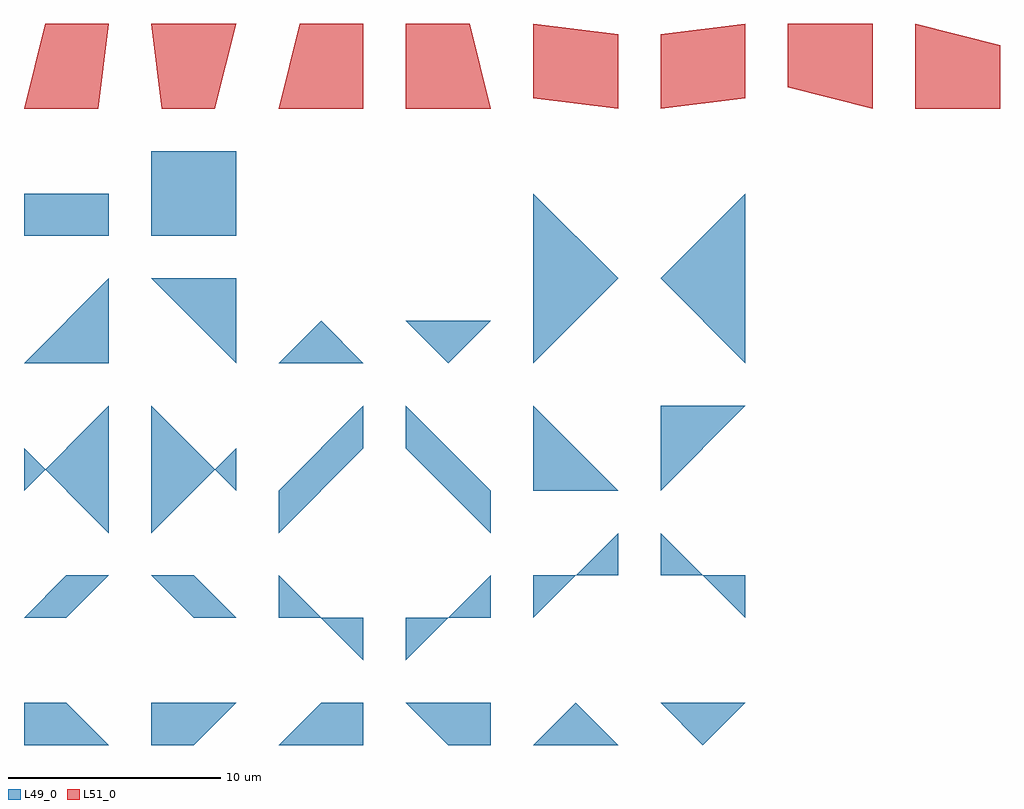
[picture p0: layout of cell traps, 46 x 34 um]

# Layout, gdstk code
import gdstk
lib = gdstk.Library(unit=1e-6, precision=1e-09)
def R(c, l, rs):  # rectangles x0, y0, x1, y1
    for r in rs: c.add(gdstk.rectangle(r[:2], r[2:], *l))
def P(c, l, *ps):  # polygons
    for p in ps: c.add(gdstk.Polygon(p, *l))
L49_0 = (49, 0)
L51_0 = (51, 0)

traps = lib.new_cell('traps')
R(traps, L49_0, [(0,24,4,26), (6,24,10,28)])
P(traps, L49_0, [(0,0),(0,2),(2,2),(4,0)],
  [(6,0),(6,2),(10,2),(8,0)],
  [(12,0),(14,2),(16,2),(16,0)],
  [(20,0),(18,2),(22,2),(22,0)],
  [(24,0),(26,2),(26,2),(28,0)],
  [(32,0),(30,2),(34,2),(32,0)],
  [(0,6),(2,8),(4,8),(2,6)],
  [(8,6),(6,8),(8,8),(10,6)],
  [(12,6),(12,8),(16,4),(16,6)],
  [(18,6),(18,4),(22,8),(22,6)],
  [(24,6),(24,8),(28,8),(28,10)],
  [(30,10),(30,8),(34,8),(34,6)],
  [(0,12),(0,14),(4,10),(4,16)],
  [(6,16),(6,10),(10,14),(10,12)],
  [(12,12),(12,10),(16,14),(16,16)],
  [(18,16),(18,14),(22,10),(22,12)],
  [(24,12),(24,16),(28,12)],
  [(30,12),(30,16),(34,16)],
  [(0,18),(4,22),(4,18)],
  [(6,22),(10,22),(10,18)],
  [(12,18),(14,20),(16,18)],
  [(18,20),(22,20),(20,18)],
  [(24,18),(24,26),(28,22)],
  [(34,18),(30,22),(34,26)])
P(traps, L51_0, [(1,34),(4,34),(3.5,30),(0,30)],
  [(6,34),(10,34),(9,30),(6.5,30)],
  [(13,34),(16,34),(16,30),(12,30)],
  [(18,34),(21,34),(22,30),(18,30)],
  [(24,30.5),(24,34),(28,33.5),(28,30)],
  [(30,30),(30,33.5),(34,34),(34,30.5)],
  [(36,31),(36,34),(40,34),(40,30)],
  [(42,30),(42,34),(46,33),(46,30)])

lib.write_gds('traps.gds')
